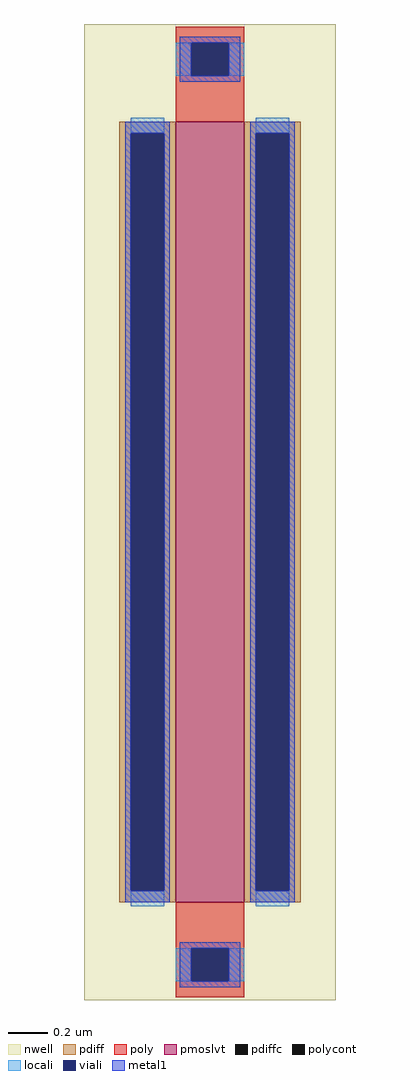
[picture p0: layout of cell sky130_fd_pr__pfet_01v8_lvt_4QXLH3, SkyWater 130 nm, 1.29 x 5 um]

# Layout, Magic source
magic
tech sky130A
magscale 1 2
<< nwell >>
rect -129 -500 129 500
<< pmoslvt >>
rect -35 -400 35 400
<< pdiff >>
rect -93 388 -35 400
rect -93 -388 -81 388
rect -47 -388 -35 388
rect -93 -400 -35 -388
rect 35 388 93 400
rect 35 -388 47 388
rect 81 -388 93 388
rect 35 -400 93 -388
<< pdiffc >>
rect -81 -388 -47 388
rect 47 -388 81 388
<< poly >>
rect -35 481 35 497
rect -35 447 -19 481
rect 19 447 35 481
rect -35 400 35 447
rect -35 -447 35 -400
rect -35 -481 -19 -447
rect 19 -481 35 -447
rect -35 -497 35 -481
<< polycont >>
rect -19 447 19 481
rect -19 -481 19 -447
<< locali >>
rect -35 447 -19 481
rect 19 447 35 481
rect -81 388 -47 404
rect -81 -404 -47 -388
rect 47 388 81 404
rect 47 -404 81 -388
rect -35 -481 -19 -447
rect 19 -481 35 -447
<< viali >>
rect -19 447 19 481
rect -81 -388 -47 388
rect 47 -388 81 388
rect -19 -481 19 -447
<< metal1 >>
rect -31 481 31 487
rect -31 447 -19 481
rect 19 447 31 481
rect -31 441 31 447
rect -87 388 -41 400
rect -87 -388 -81 388
rect -47 -388 -41 388
rect -87 -400 -41 -388
rect 41 388 87 400
rect 41 -388 47 388
rect 81 -388 87 388
rect 41 -400 87 -388
rect -31 -447 31 -441
rect -31 -481 -19 -447
rect 19 -481 31 -447
rect -31 -487 31 -481
<< properties >>
string gencell sky130_fd_pr__pfet_01v8_lvt
string library sky130
string parameters w 4.0 l 0.35 m 1 nf 1 diffcov 100 polycov 100 guard 0 glc 1 grc 1 gtc 1 gbc 1 tbcov 100 rlcov 100 topc 1 botc 1 poverlap 0 doverlap 1 lmin 0.35 wmin 0.42 compatible {sky130_fd_pr__pfet_01v8  sky130_fd_pr__pfet_01v8_lvt sky130_fd_pr__pfet_01v8_hvt  sky130_fd_pr__pfet_g5v0d10v5} full_metal 0 viasrc 100 viadrn 100 viagate 100 viagb 0 viagr 0 viagl 0 viagt 0
<< end >>
